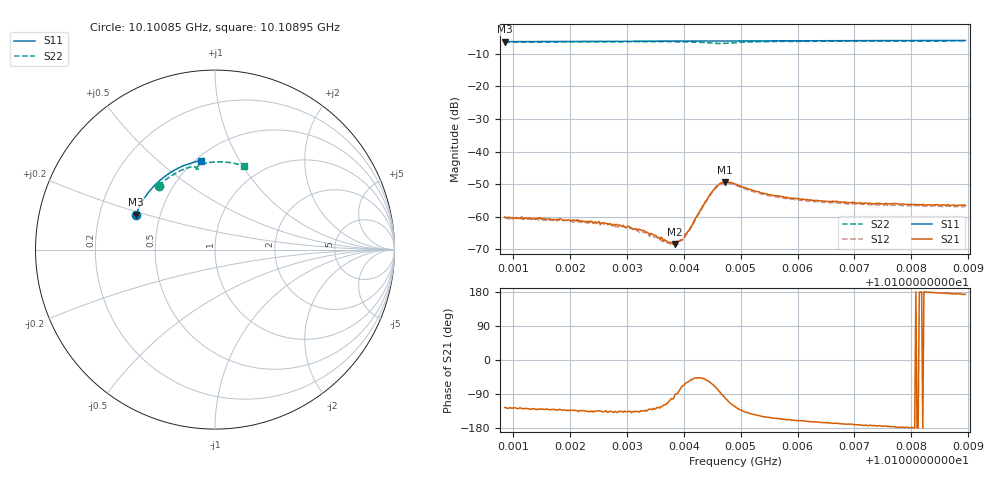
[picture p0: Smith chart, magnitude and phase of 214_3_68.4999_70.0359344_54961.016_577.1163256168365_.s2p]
#  HZ  S  RI  R  50.00
! Rohde & Schwarz Vector Network Analyzer
! Rohde-Schwarz,ZNB20-2Port,1311601062101988,3.16
! Created: UTC 3/20/2024, 4:58:10 PM
! freq[Hz]  re:S11  im:S11  re:S21  im:S21  re:S12  im:S12  re:S22  im:S22
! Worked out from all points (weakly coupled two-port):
!   401 points, 10.10085 GHz to 10.10895 GHz, reference 50 ohm
!   highest |S21| = -49.30 dB at 10.10472 GHz (marker M1); lowest = -68.4 dB at 10.10385 GHz (marker M2)
!   lowest |S11| = -6.3 dB at 10.10085 GHz (marker M3), VSWR 2.86, Z = 18.2 + j9.22 ohm
!   |S11| at or under -10 dB: nowhere
!   |S22| runs from -6.9 to -6.1 dB; largest |S21 - S12| = 0.00035
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1.0100846e10  -0.4403 0.1948  -0.000573 -0.000813  -0.000483 -0.000816  -0.3128 0.3562
1.0101819e10  -0.4157 0.2489  -0.000615 -0.000711  -0.000556 -0.000708  -0.2645 0.3969
1.0102204e10  -0.4042 0.2692  -0.000602 -0.000626  -0.000526 -0.000634  -0.2438 0.4112
1.0102549e10  -0.3933 0.2871  -0.000572 -0.000568  -0.000521 -0.000604  -0.2245 0.4231
1.0103035e10  -0.3762 0.3113  -0.00051 -0.000499  -0.000444 -0.000484  -0.1961 0.4382
1.0103258e10  -0.368 0.322  -0.000432 -0.000446  -0.00039 -0.00046  -0.1822 0.4444
1.0103562e10  -0.3561 0.3361  -0.000275 -0.000397  -0.000244 -0.000416  -0.1626 0.4523
1.0103745e10  -0.3489 0.3445  -0.00012 -0.000389  -0.000121 -0.000376  -0.15 0.456
1.0103846e10  -0.3448 0.3492  -5.43e-06 -0.00038  2.15e-05 -0.000355  -0.1426 0.458
1.0103927e10  -0.3413 0.3527  8.31e-05 -0.000426  0.000114 -0.0004  -0.1367 0.4592
1.0104049e10  -0.3363 0.358  0.000281 -0.000483  0.000299 -0.000454  -0.1273 0.4607
1.010413e10  -0.3328 0.3614  0.000443 -0.000555  0.000486 -0.000474  -0.1206 0.4608
1.0104414e10  -0.3204 0.3734  0.0011 -0.00154  0.00118 -0.00137  -0.0978 0.4534
1.0104535e10  -0.315 0.3785  0.000984 -0.00249  0.00116 -0.0023  -0.0937 0.4449
1.0104616e10  -0.3114 0.3816  0.00044 -0.00309  0.000701 -0.00292  -0.0961 0.4404
1.0104718e10  -0.3068 0.3856  -0.000508 -0.00339  -0.000203 -0.00326  -0.1017 0.441
1.01049e10  -0.2985 0.3928  -0.00172 -0.00266  -0.00142 -0.00269  -0.1024 0.4542
1.0105285e10  -0.2803 0.4074  -0.00201 -0.00139  -0.00182 -0.00147  -0.0784 0.4734
1.0105529e10  -0.2684 0.4161  -0.00193 -0.001  -0.00175 -0.00113  -0.0614 0.4793
1.0106258e10  -0.231 0.4398  -0.00169 -0.000513  -0.00161 -0.000664  -0.0117 0.4873
1.0107616e10  -0.1566 0.4746  -0.00159 -0.000147  -0.00149 -0.000269  0.0768 0.4854
1.0108954e10  -0.0788 0.4959  -0.00147 0.000163  -0.00143 2e-05  0.1605 0.4676
